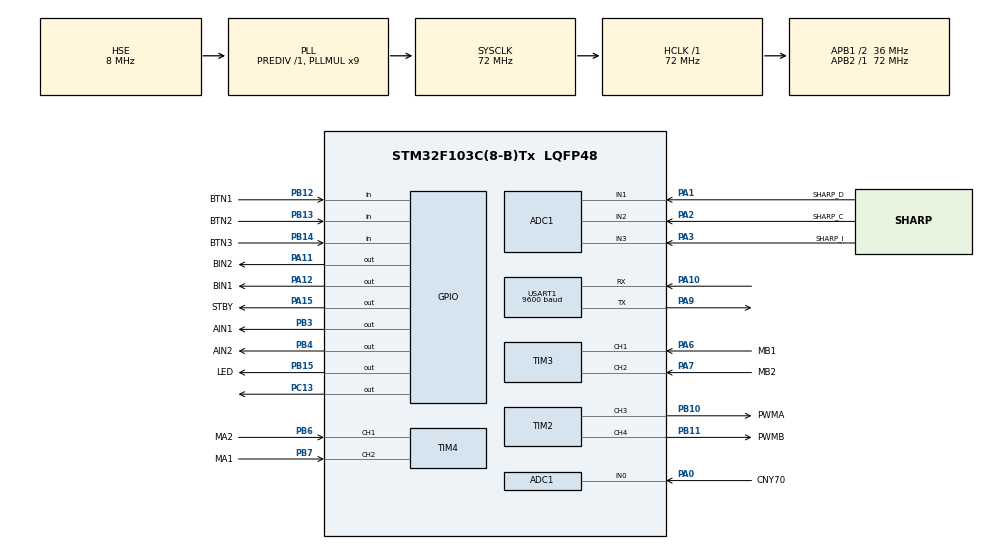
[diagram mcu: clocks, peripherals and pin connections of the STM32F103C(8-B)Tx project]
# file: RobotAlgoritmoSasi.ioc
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ADC1.Channel-1\#ChannelRegularConversion=ADC_CHANNEL_0
ADC1.Channel-2\#ChannelRegularConversion=ADC_CHANNEL_1
ADC1.Channel-3\#ChannelRegularConversion=ADC_CHANNEL_2
ADC1.Channel-4\#ChannelRegularConversion=ADC_CHANNEL_3
ADC1.ContinuousConvMode=ENABLE
ADC1.DiscontinuousConvMode=DISABLE
ADC1.EnableRegularConversion=ENABLE
ADC1.NbrOfConversion=4
ADC1.NbrOfConversionFlag=1
ADC1.Rank-1\#ChannelRegularConversion=1
ADC1.Rank-2\#ChannelRegularConversion=2
ADC1.Rank-3\#ChannelRegularConversion=3
ADC1.Rank-4\#ChannelRegularConversion=4
ADC1.SamplingTime-1\#ChannelRegularConversion=ADC_SAMPLETIME_28CYCLES_5
ADC1.SamplingTime-2\#ChannelRegularConversion=ADC_SAMPLETIME_28CYCLES_5
ADC1.SamplingTime-3\#ChannelRegularConversion=ADC_SAMPLETIME_28CYCLES_5
ADC1.SamplingTime-4\#ChannelRegularConversion=ADC_SAMPLETIME_28CYCLES_5
ADC1.master=1
Dma.ADC1.0.Direction=DMA_PERIPH_TO_MEMORY
Dma.ADC1.0.Instance=DMA1_Channel1
Dma.ADC1.0.MemDataAlignment=DMA_MDATAALIGN_WORD
Dma.ADC1.0.MemInc=DMA_MINC_ENABLE
Dma.ADC1.0.Mode=DMA_CIRCULAR
Dma.ADC1.0.PeriphDataAlignment=DMA_PDATAALIGN_WORD
Dma.ADC1.0.PeriphInc=DMA_PINC_DISABLE
Dma.ADC1.0.Priority=DMA_PRIORITY_LOW
Dma.Request0=ADC1
Mcu.Family=STM32F1
Mcu.Name=STM32F103C(8-B)Tx
Mcu.Package=LQFP48
NVIC.DMA1_Channel1_IRQn=true\:0\:0\:false\:false\:true\:false\:true\:true
NVIC.PriorityGroup=NVIC_PRIORITYGROUP_4
PA0-WKUP.GPIO_Label=CNY70
PA0-WKUP.Signal=ADCx_IN0
PA1.GPIO_Label=SHARP_D
PA1.Signal=ADCx_IN1
PA10.Mode=Asynchronous
PA10.Signal=USART1_RX
PA11.GPIO_Label=BIN2
PA11.Signal=GPIO_Output
PA12.GPIO_Label=BIN1
PA12.Signal=GPIO_Output
PA13.Mode=Serial_Wire
PA13.Signal=SYS_JTMS-SWDIO
PA14.Mode=Serial_Wire
PA14.Signal=SYS_JTCK-SWCLK
PA15.GPIO_Label=STBY
PA15.Signal=GPIO_Output
PA2.GPIO_Label=SHARP_C
PA2.Signal=ADCx_IN2
PA3.GPIO_Label=SHARP_I
PA3.Signal=ADCx_IN3
PA6.GPIO_Label=MB1
PA6.Signal=S_TIM3_CH1
PA7.GPIO_Label=MB2
PA7.Signal=S_TIM3_CH2
PA9.Mode=Asynchronous
PA9.Signal=USART1_TX
PB10.GPIO_Label=PWMA
PB10.Signal=S_TIM2_CH3
PB11.GPIO_Label=PWMB
PB11.Signal=S_TIM2_CH4
PB12.GPIO_Label=BTN1
PB12.Signal=GPIO_Input
PB13.GPIO_Label=BTN2
PB13.Signal=GPIO_Input
PB14.GPIO_Label=BTN3
PB14.Signal=GPIO_Input
PB15.GPIO_Label=LED
PB15.Signal=GPIO_Output
PB3.GPIO_Label=AIN1
PB3.Signal=GPIO_Output
PB4.GPIO_Label=AIN2
PB4.Signal=GPIO_Output
PB6.GPIO_Label=MA2
PB6.GPIO_Mode=GPIO_MODE_INPUT
PB6.GPIO_PuPd=GPIO_NOPULL
PB6.GPIO_Speed=N/A
PB6.Signal=S_TIM4_CH1
PB7.GPIO_Label=MA1
PB7.Signal=S_TIM4_CH2
PC13-TAMPER-RTC.Signal=GPIO_Output
PD0-OSC_IN.Mode=HSE-External-Oscillator
PD0-OSC_IN.Signal=RCC_OSC_IN
PD1-OSC_OUT.Mode=HSE-External-Oscillator
PD1-OSC_OUT.Signal=RCC_OSC_OUT
ProjectManager.HeapSize=0x200
ProjectManager.StackSize=0x400
ProjectManager.TargetToolchain=STM32CubeIDE
RCC.ADCPresc=RCC_ADCPCLK2_DIV6
RCC.AHBFreq_Value=72000000
RCC.APB1CLKDivider=RCC_HCLK_DIV2
RCC.APB1Freq_Value=36000000
RCC.APB1TimFreq_Value=72000000
RCC.APB2Freq_Value=72000000
RCC.APB2TimFreq_Value=72000000
RCC.HCLKFreq_Value=72000000
RCC.PLLMUL=RCC_PLL_MUL9
RCC.PLLSourceVirtual=RCC_PLLSOURCE_HSE
RCC.SYSCLKFreq_VALUE=72000000
RCC.SYSCLKSource=RCC_SYSCLKSOURCE_PLLCLK
RCC.USBFreq_Value=72000000
SH.ADCx_IN0.0=ADC1_IN0,IN0
SH.ADCx_IN1.0=ADC1_IN1,IN1
SH.ADCx_IN2.0=ADC1_IN2,IN2
SH.ADCx_IN3.0=ADC1_IN3,IN3
SH.S_TIM2_CH3.0=TIM2_CH3,PWM Generation3 CH3
SH.S_TIM2_CH4.0=TIM2_CH4,PWM Generation4 CH4
SH.S_TIM3_CH1.0=TIM3_CH1,Encoder_Interface
SH.S_TIM3_CH2.0=TIM3_CH2,Encoder_Interface
SH.S_TIM4_CH1.0=TIM4_CH1,Encoder_Interface
SH.S_TIM4_CH2.0=TIM4_CH2,Encoder_Interface
TIM2.Channel-PWM\ Generation3\ CH3=TIM_CHANNEL_3
TIM2.Channel-PWM\ Generation4\ CH4=TIM_CHANNEL_4
TIM3.CounterMode=TIM_COUNTERMODE_UP
TIM3.EncoderMode=TIM_ENCODERMODE_TI12
TIM3.IC1Filter=10
TIM4.AutoReloadPreload=TIM_AUTORELOAD_PRELOAD_ENABLE
TIM4.EncoderMode=TIM_ENCODERMODE_TI12
TIM4.IC1Filter=10
USART1.BaudRate=9600
USART1.VirtualMode=VM_ASYNC
board=custom

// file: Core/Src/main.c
/* USER CODE BEGIN Header */
/**
 ******************************************************************************
 * @file           : main.c
 * @brief          : Main program body
 ******************************************************************************
 * @attention
 *
 * Copyright (c) 2022 STMicroelectronics.
 * All rights reserved.
 *
 * This software is licensed under terms that can be found in the LICENSE file
 * in the root directory of this software component.
 * If no LICENSE file comes with this software, it is provided AS-IS.
 *
 ******************************************************************************
 */
/* USER CODE END Header */
#include "main.h"
#include "adc.h"
#include "dma.h"
#include "tim.h"
#include "usart.h"
#include "gpio.h"

/* USER CODE BEGIN Includes */
#include "sharp.h"
#include "motors.h"
#include "stdlib.h"
#include "string.h"
#include "stdio.h"
#include "math.h"
#include <float.h>
#include <string.h>
#include "FLASH_PAGE_F1.h"

/* USER CODE END Includes */

/* USER CODE BEGIN PD */
#define ADC_BUF_LEN 1024
#define FLASH_STORAGE_M 0x08005000
#define FLASH_STORAGE_Q 0x08005500
#define page_size 0x800
/* USER CODE END PD */

/* USER CODE BEGIN PV */
uint32_t adc_buf[ADC_BUF_LEN];
uint32_t CNY70[10];
uint32_t SHARP_1[10];
uint32_t SHARP_2[10];
uint32_t SHARP_3[10];
static float Sensors[4];
int direcciones[4];
uint8_t serialBuf[100];
/* USER CODE END PV */

void SystemClock_Config(void);

/* USER CODE BEGIN 0 */
int calState, CenterDistanceRight, CenterDistanceLeft, MaxRightDistance,
		MaxLeftDistance, MaxCenterDistance;
int powerA;
int powerB;
int ticks, lecturaBtn;
uint8_t RX_BUFFER[1] = { 0 };
uint8_t TX_BUFFER[12] = { 0, 0, 0, 0, 0, 0, 0, 0, 0, 0, 0, 0 };
float KP, KD, tiempoDelay;
float velocity;
long ticksNow;
int RightTick = 500;
int LeftTick = 500;
int ForwardTick = 400;
float KPchoice[2] = { 70, 80 }; //17                           //Elección de constante proporcional del PID
float KDchoice[2] = { 4, 4 }; //0.5                          //Elección de constante derivada del PID
float velocityChoice[2] = { 1000, 1000 };
int baseChoice[2] = { 15000, 20000 }; //150
int forwardChoice[2] = { 260, 290 };
int RightChoice[2] = { 160, 155 };
int LeftChoice[2] = { 155, 155 };
int TimerForward[2] = { 400, 200 };
int TimerRight[2] = { 200, 200 };
int TimerLeft[2] = { 200, 200 };
int choice;
int c, m, directionsSize, movimiento;
int finishFlag, movimientoFlag;
int valueCNY;
int direcciones[4];
int offset;
int counter;
int tick;
button btns[CANT_BTN];

int mainState = SETUP;
int robotState = READING;
int movementState = OFF;
char directions[25];
uint32_t Rx_Data[26];
char string[100];
int directionsSize;
Position actual;
Position last;
Node Map[alto][ancho];
float error, pid, previousError, elapsedTime, timeNow, timePrev, pidP, pidD;
int motLeft, motRight;
int q;
/*Position visual;
 Node VisualMap[ALTO][ANCHO];*/
/* USER CODE END 0 */

int main(void)
{

  /* MCU Configuration--------------------------------------------------------*/

  /* Reset of all peripherals, Initializes the Flash interface and the Systick. */
  HAL_Init();

  /* Configure the system clock */
  SystemClock_Config();

  /* Initialize all configured peripherals */
  MX_GPIO_Init();
  MX_DMA_Init();
  MX_TIM4_Init();
  MX_TIM3_Init();
  MX_ADC1_Init();
  MX_USART1_UART_Init();
  MX_TIM2_Init();
  /* USER CODE BEGIN 2 */
	btns[0].Port = BTN1_GPIO_Port;
	btns[0].pin = BTN1_Pin;
	btns[0].estado = ESPERA;
	btns[0].flag = 0;
	btns[1].Port = BTN2_GPIO_Port;
	btns[1].pin = BTN2_Pin;
	btns[1].estado = ESPERA;
	btns[1].flag = 0;
	btns[2].Port = BTN3_GPIO_Port;
	btns[2].pin = BTN3_Pin;
	btns[2].estado = ESPERA;
	btns[2].flag = 0;
	HAL_TIM_PWM_Start(&htim2, TIM_CHANNEL_3);
	HAL_TIM_PWM_Start(&htim2, TIM_CHANNEL_4);
	HAL_TIM_Encoder_Start(&htim4, TIM_CHANNEL_ALL);
	HAL_TIM_Encoder_Start(&htim3, TIM_CHANNEL_ALL);
	HAL_GPIO_WritePin(STBY, GPIO_PIN_SET);
	TIM2->CCR3 = 15000;
	TIM2->CCR4 = 15000;
	HAL_ADC_Start_DMA(&hadc1, (uint32_t*) adc_buf, ADC_BUF_LEN);
	HAL_GPIO_WritePin(GPIOC, GPIO_PIN_13, 0);
	TIM3->CNT = 0;
	TIM4->CNT = 0;
  /* USER CODE END 2 */

  /* Infinite loop */
	while (1) {

    /* USER CODE BEGIN 3 */
		//mainMachine();
		//intUartSend((int) calcularDistancia(TIM3->CNT) >> 1);
		runMotor(ADELANTE, MOTOR_A);
		 runMotor(ADELANTE, MOTOR_B);
		 intUartSend(TIM4->CNT);
		btnMachine(0);
		btnMachine(1);
		btnMachine(2);
		//intUartSend(Sensors[0]);
		//intUartSend(Sensors[1]);
		//intUartSend(Sensors[3]);

		/*HAL_GetTick()
		 * int d = calcularDistancia(TIM4->CNT);
		 if (calcularDistancia(TIM4->CNT) < 100) {

		 } else {
		 HAL_GPIO_WritePin(GPIOC, GPIO_PIN_13, 1);
		 runMotor(OFF, MOTOR_A);
		 runMotor(OFF, MOTOR_B);
		 }*/
		//sprintf(MSG, TIM4->CNT);
		//runForward();
	}
  /* USER CODE END 3 */
}

void SystemClock_Config(void)
{
  RCC_OscInitTypeDef RCC_OscInitStruct = {0};
  RCC_ClkInitTypeDef RCC_ClkInitStruct = {0};
  RCC_PeriphCLKInitTypeDef PeriphClkInit = {0};

  /** Initializes the RCC Oscillators according to the specified parameters
  * in the RCC_OscInitTypeDef structure.
  */
  RCC_OscInitStruct.OscillatorType = RCC_OSCILLATORTYPE_HSE;
  RCC_OscInitStruct.HSEState = RCC_HSE_ON;
  RCC_OscInitStruct.HSEPredivValue = RCC_HSE_PREDIV_DIV1;
  RCC_OscInitStruct.HSIState = RCC_HSI_ON;
  RCC_OscInitStruct.PLL.PLLState = RCC_PLL_ON;
  RCC_OscInitStruct.PLL.PLLSource = RCC_PLLSOURCE_HSE;
  RCC_OscInitStruct.PLL.PLLMUL = RCC_PLL_MUL9;
  if (HAL_RCC_OscConfig(&RCC_OscInitStruct) != HAL_OK)
  {
    Error_Handler();
  }

  /** Initializes the CPU, AHB and APB buses clocks
  */
  RCC_ClkInitStruct.ClockType = RCC_CLOCKTYPE_HCLK|RCC_CLOCKTYPE_SYSCLK
                              |RCC_CLOCKTYPE_PCLK1|RCC_CLOCKTYPE_PCLK2;
  RCC_ClkInitStruct.SYSCLKSource = RCC_SYSCLKSOURCE_PLLCLK;
  RCC_ClkInitStruct.AHBCLKDivider = RCC_SYSCLK_DIV1;
  RCC_ClkInitStruct.APB1CLKDivider = RCC_HCLK_DIV2;
  RCC_ClkInitStruct.APB2CLKDivider = RCC_HCLK_DIV1;

  if (HAL_RCC_ClockConfig(&RCC_ClkInitStruct, FLASH_LATENCY_2) != HAL_OK)
  {
    Error_Handler();
  }
  PeriphClkInit.PeriphClockSelection = RCC_PERIPHCLK_ADC;
  PeriphClkInit.AdcClockSelection = RCC_ADCPCLK2_DIV6;
  if (HAL_RCCEx_PeriphCLKConfig(&PeriphClkInit) != HAL_OK)
  {
    Error_Handler();
  }
}

/* USER CODE BEGIN 4 */
void intUartSend(int entero) {

	int m;
	int c;
	int d;
	int u;

	m = entero / 1000;
	c = entero / 100 - m * 10;
	d = entero / 10 - (m * 100 + c * 10);
	u = entero - (m * 1000 + c * 100 + d * 10);

	TX_BUFFER[0] = m + '0';
	TX_BUFFER[1] = c + '0';
	TX_BUFFER[2] = d + '0';
	TX_BUFFER[3] = u + '0';
	TX_BUFFER[4] = '\n';
	HAL_UART_Transmit(&huart1, TX_BUFFER, 5, 100);
}

void mainMachine() {
	switch (mainState) {
	case SETUP:
		actual.x = ALTO;
		actual.y = ANCHO;
		/*visual.x = 0;
		 visual.y = 0;*/
		resetAxis();
		movimientoFlag = 0;
		finishFlag = 0;
		if (abs(Sensors[1] - Sensors[3]) < 0.5) {
			HAL_GPIO_WritePin(GPIOC, GPIO_PIN_13, GPIO_PIN_RESET);
		} else {
			HAL_GPIO_WritePin(GPIOC, GPIO_PIN_13, GPIO_PIN_SET);
		}
		if (btns[0].flag == 1) {
			// Set The LED ON!
			HAL_GPIO_WritePin(GPIOC, GPIO_PIN_13, GPIO_PIN_RESET);
			choice = SLOW;
			velocity = velocityChoice[SLOW];
			TIM2->CCR3 = baseChoice[SLOW];
			TIM2->CCR4 = baseChoice[SLOW];
			KP = KPchoice[SLOW];
			KD = KDchoice[SLOW];
			if (q == 0) {
				mainState = CALIBRATE;
				q++;
			} else {
				mainState = MAPPING;
			}

		}
		if (btns[1].flag == 1) {
			// Set The LED ON!
			choice = FAST;
			velocity = velocityChoice[FAST];
			TIM2->CCR3 = baseChoice[FAST];
			TIM2->CCR4 = baseChoice[FAST];
			KP = KPchoice[FAST];
			KD = KDchoice[FAST];
			mainState = RACING;
			Flash_Read_Data(0x0801FC00, Rx_Data, 2);
			Convert_To_Str(Rx_Data, string);
			//directions = ReadRun();
			//ShowRun();
		}
		if (btns[2].flag == 1) {
			// Set The LED ON!
			HAL_GPIO_WritePin(GPIOC, GPIO_PIN_13, GPIO_PIN_RESET);
			choice = FAST;
			velocity = velocityChoice[FAST];
			TIM2->CCR3 = baseChoice[FAST];
			TIM2->CCR4 = baseChoice[FAST];
			KP = KPchoice[FAST];
			KD = KDchoice[FAST];
			if (q == 0) {
				mainState = CALIBRATE;
				q++;
			} else {
				mainState = MAPPING;
			}
		}
		//confirmacionCentrado();
		break;
	case CALIBRATE:
		calibrateMachine();
		//HAL_GPIO_WritePin(GPIOC, GPIO_PIN_13, GPIO_PIN_RESET);
		break;
	case MAPPING:
		if (finishFlag == 0) {
			robotMachine();
			/*TX_BUFFER[0] = 'L';
			 HAL_UART_Transmit(&huart1, TX_BUFFER, sizeof(TX_BUFFER), 100);*/
		} else {
			TX_BUFFER[0] = 'X';
			HAL_UART_Transmit(&huart1, TX_BUFFER, 1, 100);
			intUartSend(actual.x);
			TX_BUFFER[0] = 'Y';
			HAL_UART_Transmit(&huart1, TX_BUFFER, 1, 100);
			intUartSend(actual.y);
			actual.x = ALTO;
			actual.y = ANCHO;
			//visual.x = 0;
			//visual.y = 0;
			finishFlag = 0;
			resetAxis();
			PrintMap();
			mainState = RESOLUTION;
		}
		break;
	case RESOLUTION:
		if (Map[actual.x][actual.y].final == 0) {
			addDirection(actual.x, actual.y);
			TX_BUFFER[0] = 'X';
			HAL_UART_Transmit(&huart1, TX_BUFFER, 1, 100);
			intUartSend(actual.x);
			TX_BUFFER[0] = 'Y';
			HAL_UART_Transmit(&huart1, TX_BUFFER, 1, 100);
			intUartSend(actual.y);
		} else {
			//directions = optimizeDirections(directions);
			//SerialBT.println(directions);
			// UploadRun(directions);
			directions[directionsSize] = 'o';
			Flash_Write_Data(0x0801FC00, (uint32_t*) directions, 25);
			mainState = SETUP;
		}

		break;
	case RACING:
		runDirections(string);
		break;
	}

}

void calibrateMachine() {
	switch (calState) {
	case CENTER:
		intUartSend(abs(Sensors[1] - Sensors[3]));
		HAL_GPIO_WritePin(GPIOC, GPIO_PIN_13, GPIO_PIN_SET);
		if (abs(Sensors[1] - Sensors[3]) < 0.5) {
			HAL_GPIO_WritePin(GPIOC, GPIO_PIN_13, GPIO_PIN_RESET);
			if (btns[0].flag == 1) {
				CenterDistanceRight = Sensors[3];
				CenterDistanceLeft = Sensors[1];
				calState = LEFT;
			}
		}
		break;
	case LEFT:
		intUartSend(abs(Sensors[3]));
		HAL_GPIO_WritePin(GPIOC, GPIO_PIN_13, GPIO_PIN_SET);
		if (btns[0].flag == 1) {
			HAL_GPIO_WritePin(GPIOC, GPIO_PIN_13, GPIO_PIN_RESET);
			MaxLeftDistance = Sensors[3] + 2;
			calState = RIGHT;
		}
		break;
	case RIGHT:
		intUartSend(abs(Sensors[1]));
		HAL_GPIO_WritePin(GPIOC, GPIO_PIN_13, GPIO_PIN_SET);
		if (btns[0].flag == 1) {
			HAL_GPIO_WritePin(GPIOC, GPIO_PIN_13, GPIO_PIN_RESET);
			MaxRightDistance = Sensors[1] + 2;
			calState = FORWARD;
		}
		break;
	case FORWARD:
		intUartSend(abs(Sensors[2]));
		HAL_GPIO_WritePin(GPIOC, GPIO_PIN_13, GPIO_PIN_SET);
		if (btns[0].flag == 1) {
			HAL_GPIO_WritePin(GPIOC, GPIO_PIN_13, GPIO_PIN_RESET);
			MaxCenterDistance = Sensors[2] + 2;
			mainState = SETUP;
			calState = CENTER;
		}
		break;
	}
}

void robotMachine() {
	switch (robotState) {
	case READING:
		HAL_Delay(10);
		TX_BUFFER[0] = 'X';
		TX_BUFFER[1] = actual.x + '0';
		TX_BUFFER[2] = '\n';
		TX_BUFFER[3] = 'Y';
		TX_BUFFER[4] = actual.y + '0';
		TX_BUFFER[5] = '\n';
		HAL_UART_Transmit(&huart1, TX_BUFFER, 6, 100);
		Map[actual.x][actual.y].visitado++;
		if (Map[actual.x][actual.y].visitado == 1) {
			runMotor(OFF, MOTOR_A);
			runMotor(OFF, MOTOR_B);
			CreateNode(actual.x, actual.y);
		}
		intUartSend(Map[actual.x][actual.y].Lados[DERECHA]);
		intUartSend(Map[actual.x][actual.y].Lados[ADELANTE]);
		intUartSend(Map[actual.x][actual.y].Lados[IZQUIERDA]);
		intUartSend(Map[actual.x][actual.y].Lados[ATRAS]);
		/*TX_BUFFER[0] = 'D';
		 TX_BUFFER[1] = Map[actual.x][actual.y].Lados[DERECHA] + '0';
		 TX_BUFFER[2] = '\n';
		 TX_BUFFER[3] = 'C';
		 TX_BUFFER[4] = Map[actual.x][actual.y].Lados[ADELANTE] + '0';
		 TX_BUFFER[5] = '\n';
		 TX_BUFFER[6] = 'I';
		 TX_BUFFER[7] = Map[actual.x][actual.y].Lados[IZQUIERDA] + '0';
		 TX_BUFFER[8] = '\n';
		 TX_BUFFER[9] = 'A';
		 TX_BUFFER[10] = Map[actual.x][actual.y].Lados[ATRAS] + '0';
		 TX_BUFFER[11] = '\n';
		 HAL_UART_Transmit(&huart1, TX_BUFFER, 12, 100);
		 */
		valueCNY = Sensors[0];
		if (valueCNY == BLANCO) {
			Map[actual.x][actual.y].final = 1;
			finishFlag = 1;
		} else {
			Map[actual.x][actual.y].final = 0;
			robotState = CHOOSING;
		}
		//PrintMap();
		//HAL_Delay(1000);
		break;
	case CHOOSING:
		movimiento = ChooseNextNode(actual.x, actual.y);
		TX_BUFFER[0] = 'M';
		TX_BUFFER[1] = movimiento + '0';
		TX_BUFFER[2] = '\n';
		HAL_UART_Transmit(&huart1, TX_BUFFER, 3, 100);

		TX_BUFFER[0] = '*';
		TX_BUFFER[1] = '*';
		TX_BUFFER[2] = '\n';
		HAL_UART_Transmit(&huart1, TX_BUFFER, 3, 100);
		movimientoFlag = 0;
		ticksNow = HAL_GetTick();
		robotState = MOVING;

		break;
	case MOVING:
		//TX_BUFFER[0] = 'M';
		//HAL_UART_Transmit(&huart1, TX_BUFFER, sizeof(TX_BUFFER), 100);
		HAL_GPIO_WritePin(GPIOC, GPIO_PIN_13, GPIO_PIN_RESET);
		movementMachine(movimiento);

		if (movimientoFlag == 1) {
			robotState = READING;
		}
		break;
	}
}

void runDirections(char moves[100]) {
	if (moves[m] == 'a') {
		movementMachine(ADELANTE);
	} else if (moves[m] == 'd') {
		movementMachine(DERECHA);
	} else if (moves[m] == 'i') {
		movementMachine(IZQUIERDA);
	} else if (moves[m] == 'o') {
		movementMachine(OFF);
	} else {
		movementMachine(SUPER);
	}
	TX_BUFFER[0] = moves[m];
	HAL_UART_Transmit(&huart1, TX_BUFFER, 1, 100);
	if (movimientoFlag == 1) {
		m++;
		movimientoFlag = 0;
	}
}

void addDirection(int x, int y) {
	if (Map[x][y].Lados[direcciones[ADELANTE]] != 1) {
		//Map[x][y].Lados[direcciones[ADELANTE]] = 2;
		moveNode(direcciones[ADELANTE]);
		directions[directionsSize] = 'a';
	} else if (Map[x][y].Lados[direcciones[IZQUIERDA]] != 1) {
		//Map[x][y].Lados[direcciones[IZQUIERDA]] = 2;
		moveNode(direcciones[IZQUIERDA]);
		rotateAxis(IZQUIERDA);
		directions[directionsSize] = 'i';
	} else if (Map[x][y].Lados[direcciones[DERECHA]] != 1) {
		//Map[x][y].Lados[direcciones[DERECHA]] = 2;
		moveNode(direcciones[DERECHA]);
		rotateAxis(DERECHA);
		directions[directionsSize] = 'd';
	}
	intUartSend(Map[x][y].Lados[direcciones[ADELANTE]]);
	intUartSend(Map[x][y].Lados[direcciones[IZQUIERDA]]);
	intUartSend(Map[x][y].Lados[direcciones[DERECHA]]);
	TX_BUFFER[0] = 'D';
	TX_BUFFER[1] = directions[directionsSize];
	TX_BUFFER[2] = '\n';
	HAL_UART_Transmit(&huart1, TX_BUFFER, 3, 100);
	directionsSize++;
}

int ChooseNextNode(int x, int y) {
	if (Map[x][y].Lados[direcciones[ADELANTE]] == 0) {
		TX_BUFFER[0] = 'A';
		TX_BUFFER[1] = '\n';
		HAL_UART_Transmit(&huart1, TX_BUFFER, 2, 100);
		Map[x][y].Lados[direcciones[ADELANTE]] = 2;
		if (Map[x][y].visitado > 1) {
			EliminateNode(x, y);
			intUartSend(5000);
		}
		if (Map[x][y].Lados[direcciones[ATRAS]] != 1)
			Map[x][y].Lados[direcciones[ATRAS]] = 2;
		last.x = actual.x;
		last.y = actual.y;
		intUartSend(Map[actual.x][actual.y].Lados[DERECHA]);
		intUartSend(Map[actual.x][actual.y].Lados[ADELANTE]);
		intUartSend(Map[actual.x][actual.y].Lados[IZQUIERDA]);
		intUartSend(Map[actual.x][actual.y].Lados[ATRAS]);
		moveNode(direcciones[ADELANTE]);
		return ADELANTE;
	} else if (Map[x][y].Lados[direcciones[IZQUIERDA]] == 0) {
		TX_BUFFER[0] = 'I';
		TX_BUFFER[1] = '\n';
		HAL_UART_Transmit(&huart1, TX_BUFFER, 2, 100);
		Map[x][y].Lados[direcciones[IZQUIERDA]] = 2;
		if (Map[x][y].visitado > 1) {
			EliminateNode(x, y);
			intUartSend(5000);
		}
		if (Map[x][y].Lados[direcciones[ATRAS]] != 1) {
			Map[x][y].Lados[direcciones[ATRAS]] = 2;
		}
		last.x = actual.x;
		last.y = actual.y;
		intUartSend(Map[x][y].Lados[DERECHA]);
		intUartSend(Map[x][y].Lados[ADELANTE]);
		intUartSend(Map[x][y].Lados[IZQUIERDA]);
		intUartSend(Map[x][y].Lados[ATRAS]);
		moveNode(direcciones[IZQUIERDA]);
		rotateAxis(IZQUIERDA);
		return IZQUIERDA;
	} else if (Map[x][y].Lados[direcciones[DERECHA]] == 0) {
		TX_BUFFER[0] = 'D';
		TX_BUFFER[1] = '\n';
		HAL_UART_Transmit(&huart1, TX_BUFFER, 2, 100);

		if (Map[x][y].visitado > 1) {
			EliminateNode(x, y);
			intUartSend(5000);
		}
		Map[x][y].Lados[direcciones[DERECHA]] = 2;
		if (Map[x][y].Lados[direcciones[ATRAS]] != 1) {
			intUartSend(Map[x][y].Lados[direcciones[ATRAS]]);
			Map[x][y].Lados[direcciones[ATRAS]] = 2;
		}
		last.x = actual.x;
		last.y = actual.y;
		intUartSend(Map[actual.x][actual.y].Lados[DERECHA]);
		intUartSend(Map[actual.x][actual.y].Lados[ADELANTE]);
		intUartSend(Map[actual.x][actual.y].Lados[IZQUIERDA]);
		intUartSend(Map[actual.x][actual.y].Lados[ATRAS]);
		moveNode(direcciones[DERECHA]);
		rotateAxis(DERECHA);
		return DERECHA;
	} else {
		TX_BUFFER[0] = 'O';
		TX_BUFFER[1] = '\n';
		HAL_UART_Transmit(&huart1, TX_BUFFER, 2, 100);
		return SearchAvailableNode(x, y);
	}

}
void EliminateNode(int x, int y) {
//Serial.println("Borro");
	Map[x][y].Lados[direcciones[ATRAS]] = 1;
	Map[last.x][last.y].visitado = 0;
}

int SearchAvailableNode(int x, int y) {
	if (Map[x][y].Lados[direcciones[ADELANTE]] != 1) {
		//Serial.println("Adelante1");

		if (Map[x][y].visitado > 1) {
			EliminateNode(x, y);
			intUartSend(4000);
		}
		last.x = actual.x;
		last.y = actual.y;
		intUartSend(Map[actual.x][actual.y].Lados[DERECHA]);
		intUartSend(Map[actual.x][actual.y].Lados[ADELANTE]);
		intUartSend(Map[actual.x][actual.y].Lados[IZQUIERDA]);
		intUartSend(Map[actual.x][actual.y].Lados[ATRAS]);
		moveNode(direcciones[ADELANTE]);

		return ADELANTE;
	} else if (Map[x][y].Lados[direcciones[IZQUIERDA]] != 1) {
		//Serial.println("IZQUIERDA1");l
		//moveNode(IZQUIERDA);
		//rotateAxis(IZQUIERDA);
		if (Map[x][y].visitado > 1) {
			EliminateNode(x, y);
			intUartSend(4000);
		}
		last.x = actual.x;
		last.y = actual.y;
		intUartSend(Map[actual.x][actual.y].Lados[DERECHA]);
		intUartSend(Map[actual.x][actual.y].Lados[ADELANTE]);
		intUartSend(Map[actual.x][actual.y].Lados[IZQUIERDA]);
		intUartSend(Map[actual.x][actual.y].Lados[ATRAS]);
		moveNode(direcciones[IZQUIERDA]);

		rotateAxis(IZQUIERDA);
		return IZQUIERDA;
	} else if (Map[x][y].Lados[direcciones[DERECHA]] != 1) {
		//Serial.println("DERECHA1");
		if (Map[x][y].visitado > 1) {
			EliminateNode(x, y);
			intUartSend(4000);
		}
		last.x = actual.x;
		last.y = actual.y;
		intUartSend(Map[actual.x][actual.y].Lados[DERECHA]);
		intUartSend(Map[actual.x][actual.y].Lados[ADELANTE]);
		intUartSend(Map[actual.x][actual.y].Lados[IZQUIERDA]);
		intUartSend(Map[actual.x][actual.y].Lados[ATRAS]);
		moveNode(direcciones[DERECHA]);
		rotateAxis(DERECHA);
		return DERECHA;
	} else if (Map[x][y].Lados[direcciones[ATRAS]] != 1) {
		last.x = actual.x;
		last.y = actual.y;
		intUartSend(Map[actual.x][actual.y].Lados[DERECHA]);
		intUartSend(Map[actual.x][actual.y].Lados[ADELANTE]);
		intUartSend(Map[actual.x][actual.y].Lados[IZQUIERDA]);
		intUartSend(Map[actual.x][actual.y].Lados[ATRAS]);
		moveNode(direcciones[ATRAS]);

		rotateAxis(DERECHA);
		rotateAxis(DERECHA);
		return ATRAS;
	}
	return 0;
}
void moveNode(int lado) {
	switch (lado) {
	case ADELANTE:
		//if (visual.y != ALTO - 1) {
		actual.y++;
		//visual.y++;
		//}
		break;
	case IZQUIERDA:
		//if (visual.x != 0) {
		actual.x--;
		//visual.x--;
		//}
		break;
	case DERECHA:
		// if (visual.x != ANCHO - 1) {
		actual.x++;
		// visual.x++;
		// }
		break;
	case ATRAS:
		// if (visual.y != 0) {
		actual.y--;
		// visual.y--;
		// }

		break;
	}
}

/*void movementMachine(int move) {
 switch (movementState) {
 case OFF:
 runMotor(OFF, MOTOR_A);
 runMotor(OFF, MOTOR_B);
 if (move != OFF) {
 movementState = move;
 TIM3->CNT = 0;
 TIM4->CNT = 0;
 }
 break;
 case ADELANTE:
 tick = HAL_GetTick();
 intUartSend(tick);
 if (ticksNow + TimerForward[choice] > tick) {
 moveStraight();
 runMotor(ADELANTE, MOTOR_A);
 runMotor(ADELANTE, MOTOR_B);
 } else {
 movimientoFlag = 1;
 movementState = OFF;
 runMotor(OFF, MOTOR_A);
 runMotor(OFF, MOTOR_B);
 TIM3->CNT = 0;
 TIM4->CNT = 0;
 offset = 0;
 }
 break;
 case IZQUIERDA:
 tick = HAL_GetTick();
 TIM2->CCR3 = baseChoice[choice];
 TIM2->CCR4 = baseChoice[choice];
 if (ticksNow + TimerLeft[choice] > tick) {
 runMotor(ATRAS, MOTOR_A);
 runMotor(ADELANTE, MOTOR_B);
 } else {
 movementState = ADELANTE;
 ticksNow = HAL_GetTick();
 runMotor(OFF, MOTOR_A);
 runMotor(OFF, MOTOR_B);
 TIM3->CNT = 0;
 TIM4->CNT = 0;
 offset = 30;
 }
 break;
 case DERECHA:
 tick = HAL_GetTick();
 TIM2->CCR3 = baseChoice[choice];
 TIM2->CCR4 = baseChoice[choice];
 if (ticksNow + TimerRight[choice] > tick) {
 runMotor(ADELANTE, MOTOR_A);
 runMotor(ATRAS, MOTOR_B);
 } else {
 movementState = ADELANTE;
 ticksNow = HAL_GetTick();
 runMotor(OFF, MOTOR_A);
 runMotor(OFF, MOTOR_B);
 TIM3->CNT = 0;
 TIM4->CNT = 0;
 offset = 30;
 }
 break;
 case ATRAS:
 tick = HAL_GetTick();
 TIM2->CCR3 = baseChoice[choice];
 TIM2->CCR4 = baseChoice[choice];
 if (ticksNow + TimerRight[choice] * 2 > tick) {
 runMotor(ADELANTE, MOTOR_A);
 runMotor(ATRAS, MOTOR_B);
 } else {
 ticksNow = HAL_GetTick();
 movementState = ADELANTE;
 runMotor(OFF, MOTOR_A);
 runMotor(OFF, MOTOR_B);
 TIM3->CNT = 0;
 TIM4->CNT = 0;
 offset = 30;
 }
 break;
 }
 }*/
void movementMachine(int move) {
	switch (movementState) {
	case OFF:
		runMotor(OFF, MOTOR_A);
		runMotor(OFF, MOTOR_B);
		if (move != OFF) {
			movementState = move;
			TIM3->CNT = 0;
			TIM4->CNT = 0;
			if (move == IZQUIERDA) {
				TIM3->CNT = 500 + 100;
			}
			//intUartSend(TIM3->CNT);
		}
		break;
	case ADELANTE:
		//intUartSend((int) calcularDistancia(TIM3->CNT));
		if ((calcularDistancia((TIM3->CNT >> 1)) < forwardChoice[choice])
				|| (calcularDistancia((TIM4->CNT >> 1)) < forwardChoice[choice]) /*&& Sensors[2] > 5*/) {
			moveStraight();
			runMotor(ADELANTE, MOTOR_A);
			runMotor(ADELANTE, MOTOR_B);
		} else {
			movimientoFlag = 1;
			movementState = OFF;
			runMotor(OFF, MOTOR_A);
			runMotor(OFF, MOTOR_B);
			TIM3->CNT = 0;
			TIM4->CNT = 0;
			offset = 0;
			//intUartSend(10);
		}
		break;
	case IZQUIERDA:
		TIM2->CCR3 = baseChoice[choice];
		TIM2->CCR4 = baseChoice[choice];
		//intUartSend((TIM3->CNT));
		if (calcularDistancia((TIM4->CNT)) < LeftChoice[choice]) {
			runMotor(ADELANTE, MOTOR_A);
			runMotor(ATRAS, MOTOR_B);
		} else {
			movementState = ADELANTE;
			runMotor(OFF, MOTOR_A);
			runMotor(OFF, MOTOR_B);
			TIM3->CNT = 0;
			TIM4->CNT = 0;
			offset = 30;
			//intUartSend(9);
		}
		break;
	case DERECHA:
		TIM2->CCR3 = baseChoice[choice];
		TIM2->CCR4 = baseChoice[choice];
		if (calcularDistancia((TIM3->CNT)) < RightChoice[choice]) {
			runMotor(ATRAS, MOTOR_A);
			runMotor(ADELANTE, MOTOR_B);
		} else {
			movementState = ADELANTE;
			runMotor(OFF, MOTOR_A);
			runMotor(OFF, MOTOR_B);
			TIM3->CNT = 0;
			TIM4->CNT = 0;
			offset = 30;
			//intUartSend(8);
		}
		break;
	case ATRAS:
		TIM2->CCR3 = baseChoice[choice];
		TIM2->CCR4 = baseChoice[choice];
		if (calcularDistancia((TIM3->CNT)) < RightChoice[choice] * 2) {
			runMotor(ATRAS, MOTOR_A);
			runMotor(ADELANTE, MOTOR_B);
		} else {
			movementState = ADELANTE;
			runMotor(OFF, MOTOR_A);
			runMotor(OFF, MOTOR_B);
			TIM3->CNT = 0;
			TIM4->CNT = 0;
			offset = 30;
			//intUartSend(7);
		}
		break;

	}
}

void CreateNode(int x, int y) {
	Map[x][y].Lados[direcciones[ADELANTE]] = lecturaSensor(ADELANTE, Sensors);
	Map[x][y].Lados[direcciones[IZQUIERDA]] = lecturaSensor(IZQUIERDA, Sensors);
	Map[x][y].Lados[direcciones[DERECHA]] = lecturaSensor(DERECHA, Sensors);
	Map[x][y].Lados[direcciones[ATRAS]] = lecturaSensor(ATRAS, Sensors);

}

void rotateAxis(int direccion) {
	switch (direccion) {
	case DERECHA:
		for (int i = 0; i < 4; i++) {
			direcciones[i] = direcciones[i] - 1;
			if (direcciones[i] == -1) {
				direcciones[i] = 3;
			}
		}
		break;
	case IZQUIERDA:
		for (int j = 0; j < 4; j++) {
			direcciones[j] = direcciones[j] + 1;
			if (direcciones[j] == 4) {
				direcciones[j] = 0;
			}
		}
		break;
	}
}

void resetAxis() {
	for (int i = 0; i < 4; i++) {
		direcciones[i] = i;
	}
}

void PrintMap() {
	for (int i = 0; i < alto; i++) {
		for (int j = 0; j < ancho; j++) {
			//SerialBT.print(Map[i][j].visitado);
			//SerialBT.print(" ");
			TX_BUFFER[0] = Map[i][j].visitado + '0';
			TX_BUFFER[1] = ' ';
			HAL_UART_Transmit(&huart1, TX_BUFFER, 2, 100);
		}
		TX_BUFFER[0] = '\n';
		HAL_UART_Transmit(&huart1, TX_BUFFER, 1, 100);
	}
}

// Called when buffer is completely filled
void HAL_ADC_ConvCpltCallback(ADC_HandleTypeDef *hadc) {
	for (int i = 0; i < 10; i++) {
		CNY70[i] = adc_buf[i * 4];
		SHARP_1[i] = adc_buf[i * 4 + 1];
		SHARP_2[i] = adc_buf[i * 4 + 2];
		SHARP_3[i] = adc_buf[i * 4 + 3];
	}
	Sensors[0] = lecturaCNY70(10, CNY70);
	Sensors[1] = lecSensor(10, SHARP_1);
	Sensors[2] = lecSensor(10, SHARP_2);
	Sensors[3] = lecSensor(10, SHARP_3);

}

uint32_t MAP(uint32_t au32_IN, uint32_t au32_INmin, uint32_t au32_INmax,
		uint32_t au32_OUTmin, uint32_t au32_OUTmax) {
	return ((((au32_IN - au32_INmin) * (au32_OUTmax - au32_OUTmin))
			/ (au32_INmax - au32_INmin)) + au32_OUTmin);
}

int constrain(int x, int a, int b) {
	if (x < a) {
		return a;
	} else if (b < x) {
		return b;
	} else
		return x;
}

int wallDetector(int n, int d) {
	switch (d) {
	case ADELANTE:
		if (n < MaxCenterDistance) {
			return 1;
		} else {
			return 0;
		}
		break;

	case IZQUIERDA:
		if (n < MaxLeftDistance) {
			return 1;
		} else {
			return 0;
		}
		break;
	case DERECHA:
		if (n < MaxRightDistance) {
			return 1;
		} else {
			return 0;
		}
		break;
	default:
		return 0;
		break;
	}
}

void moveStraight() {
	if (Sensors[3] < MaxLeftDistance - 2 && Sensors[1] < MaxRightDistance - 2) {
		//intUartSend(0);
		error = Sensors[3] - Sensors[1];
	} else if (Sensors[3] < MaxLeftDistance - 2) {
		//intUartSend(1);
		error = Sensors[3] - CenterDistanceLeft;
	} else if (Sensors[1] < MaxRightDistance - 2) {
		//intUartSend(2);
		error = CenterDistanceRight - Sensors[1];
	} else {
		//intUartSend(3);
		error = 0;
	}

	timePrev = timeNow;
	timeNow = HAL_GetTick();
	elapsedTime = (timeNow - timePrev) / 1000;
	pidD = KD * ((error - previousError) / elapsedTime);
	pidP = KP * error;
	pid = pidP + pidD;
	if (pid > velocity) {
		//intUartSend(1);
		pid = velocity;
	}
	if (pid < -velocity) {
		//intUartSend(0);
		pid = -velocity;
	}
	//intUartSend(abs(pid));
	HAL_Delay(10);
	motLeft = velocity - pid;
	motRight = velocity + pid;
	if (motLeft < -1000) {
		motLeft = -1000;
	}
	if (motRight < -1000) {
		motRight = -1000;
	}

	previousError = error;
	motRight = constrain(motRight, -1000, 1000);
	motLeft = constrain(motLeft, -1000, 1000);

	motRight = MAP(motRight, -1000, 1000, 0, baseChoice[choice] * 2);
	motLeft = MAP(motLeft, -1000, 1000, 0, baseChoice[choice] * 2);
	TIM2->CCR4 = motLeft;
	TIM2->CCR3 = motRight;
}

void runForward() {
	runMotor(ADELANTE, MOTOR_A);
	runMotor(ADELANTE, MOTOR_B);
}

void btnMachine(int index) {
	switch (btns[index].estado) {
	case ESPERA:
		btns[index].flag = 0;
		lecturaBtn = HAL_GPIO_ReadPin(btns[index].Port, btns[index].pin);
		if (lecturaBtn == 0) {
			ticks = HAL_GetTick();
			btns[index].estado = CONFIRMACION;
		}
		break;

	case CONFIRMACION:
		lecturaBtn = HAL_GPIO_ReadPin(btns[index].Port, btns[index].pin);
		if (lecturaBtn == 0 && HAL_GetTick() >= ticks + TICKS_BTN) {
			btns[index].estado = LIBERACION;
		}

		if (lecturaBtn == 1 && ticks < TICKS_BTN) {
			btns[index].estado = ESPERA;
		}
		break;

	case LIBERACION:
		lecturaBtn = HAL_GPIO_ReadPin(btns[index].Port, btns[index].pin);
		if (lecturaBtn == 1) {
			btns[index].flag = 1;
			btns[index].estado = ESPERA;
		}
		break;
	}
}

/* USER CODE END 4 */

void Error_Handler(void)
{
	__disable_irq();
	while (1) {
	}
}
